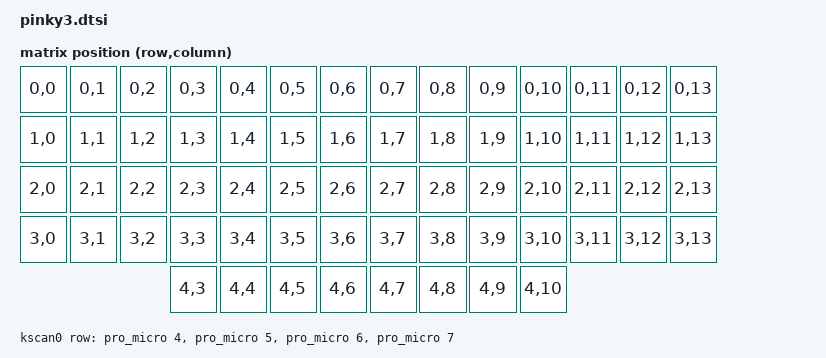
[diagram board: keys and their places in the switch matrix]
#include <dt-bindings/zmk/matrix_transform.h>

/ {
    chosen {
        zmk,kscan = &kscan0;
        zmk,matrix-transform = &default_transform;
    };

    default_transform: keymap_transform_0 {
        compatible = "zmk,matrix-transform";
        columns = <17>;
        rows = <5>;
// | SW 7 | SW6  | SW5  | SW4  | SW3  | SW2  | SW1  |        | SW1  | SW2  | SW3  | SW4  | SW5  | SW6  | SW7  |
// | SW14 | SW13 | SW12 | SW11 | SW10 | SW9  | SW8  |        | SW8  | SW9  | SW10 | SW11 | SW12 | SW13 | SW14 |
// | SW21 | SW20 | SW19 | SW18 | SW17 | SW16 | SW15 |        | SW15 | SW16 | SW17 | SW18 | SW19 | SW20 | SW21 |
// | SW28 | SW27 | SW26 | SW25 | SW24 | SW23 | SW22 |        | SW22 | SW23 | SW24 | SW25 | SW26 | SW27 | SW28 |
//                      | SW32 | SW31 | SW30 | SW29 |        | SW29 | SW30 | SW31 | SW32 |
        map = <
RC(0,0) RC(0,1) RC(0,2) RC(0,3) RC(0,4) RC(0,5) RC(0,6)		RC(0,7) RC(0,8) RC(0,9) RC(0,10) RC(0,11) RC(0,12) RC(0,13)
RC(1,0) RC(1,1) RC(1,2) RC(1,3) RC(1,4) RC(1,5) RC(1,6)		RC(1,7) RC(1,8) RC(1,9) RC(1,10) RC(1,11) RC(1,12) RC(1,13)
RC(2,0) RC(2,1) RC(2,2) RC(2,3) RC(2,4) RC(2,5) RC(2,6)		RC(2,7) RC(2,8) RC(2,9) RC(2,10) RC(2,11) RC(2,12) RC(2,13)
RC(3,0) RC(3,1) RC(3,2) RC(3,3) RC(3,4) RC(3,5) RC(3,6)		RC(3,7) RC(3,8) RC(3,9) RC(3,10) RC(3,11) RC(3,12) RC(3,13)
                        RC(4,3) RC(4,4) RC(4,5) RC(4,6)		RC(4,7) RC(4,8) RC(4,9) RC(4,10)
        >;
    };

    kscan0: kscan {
        compatible = "zmk,kscan-gpio-matrix";

        diode-direction = "col2row";
        row-gpios // ROWS = { "D4" , "C6" , "D7" , "E6" }
            = <&pro_micro 4 (GPIO_ACTIVE_HIGH | GPIO_PULL_DOWN)> // Row A from the schematic file
            , <&pro_micro 5 (GPIO_ACTIVE_HIGH | GPIO_PULL_DOWN)> // Row B from the schematic file
            , <&pro_micro 6 (GPIO_ACTIVE_HIGH | GPIO_PULL_DOWN)> // Row C from the schematic file
            , <&pro_micro 7 (GPIO_ACTIVE_HIGH | GPIO_PULL_DOWN)> // Row D from the schematic file
            ;

    };
};
